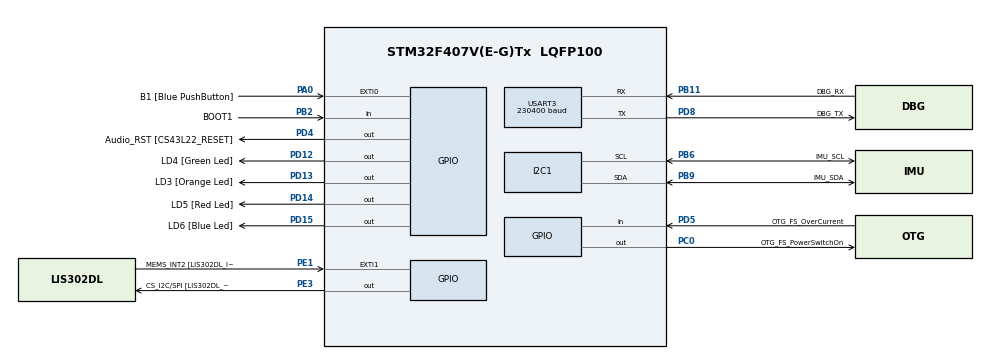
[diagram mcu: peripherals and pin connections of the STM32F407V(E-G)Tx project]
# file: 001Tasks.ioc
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Dma.I2C1_RX.1.Direction=DMA_PERIPH_TO_MEMORY
Dma.I2C1_RX.1.FIFOMode=DMA_FIFOMODE_DISABLE
Dma.I2C1_RX.1.Instance=DMA1_Stream0
Dma.I2C1_RX.1.MemDataAlignment=DMA_MDATAALIGN_BYTE
Dma.I2C1_RX.1.MemInc=DMA_MINC_ENABLE
Dma.I2C1_RX.1.Mode=DMA_NORMAL
Dma.I2C1_RX.1.PeriphDataAlignment=DMA_PDATAALIGN_BYTE
Dma.I2C1_RX.1.PeriphInc=DMA_PINC_DISABLE
Dma.I2C1_RX.1.Priority=DMA_PRIORITY_HIGH
Dma.I2C1_TX.2.Direction=DMA_MEMORY_TO_PERIPH
Dma.I2C1_TX.2.FIFOMode=DMA_FIFOMODE_DISABLE
Dma.I2C1_TX.2.Instance=DMA1_Stream6
Dma.I2C1_TX.2.MemDataAlignment=DMA_MDATAALIGN_BYTE
Dma.I2C1_TX.2.MemInc=DMA_MINC_ENABLE
Dma.I2C1_TX.2.Mode=DMA_NORMAL
Dma.I2C1_TX.2.PeriphDataAlignment=DMA_PDATAALIGN_BYTE
Dma.I2C1_TX.2.PeriphInc=DMA_PINC_DISABLE
Dma.I2C1_TX.2.Priority=DMA_PRIORITY_HIGH
Dma.Request0=USART3_TX
Dma.Request1=I2C1_RX
Dma.Request2=I2C1_TX
Dma.USART3_TX.0.Direction=DMA_MEMORY_TO_PERIPH
Dma.USART3_TX.0.FIFOMode=DMA_FIFOMODE_DISABLE
Dma.USART3_TX.0.Instance=DMA1_Stream3
Dma.USART3_TX.0.MemDataAlignment=DMA_MDATAALIGN_BYTE
Dma.USART3_TX.0.MemInc=DMA_MINC_ENABLE
Dma.USART3_TX.0.Mode=DMA_NORMAL
Dma.USART3_TX.0.PeriphDataAlignment=DMA_PDATAALIGN_BYTE
Dma.USART3_TX.0.PeriphInc=DMA_PINC_DISABLE
Dma.USART3_TX.0.Priority=DMA_PRIORITY_LOW
I2C1.I2C_Mode=I2C_Fast
Mcu.Family=STM32F4
Mcu.Name=STM32F407V(E-G)Tx
Mcu.Package=LQFP100
NVIC.DMA1_Stream0_IRQn=true\:6\:0\:true\:false\:true\:false\:true
NVIC.DMA1_Stream3_IRQn=true\:6\:0\:true\:false\:true\:false\:true
NVIC.DMA1_Stream6_IRQn=true\:6\:0\:true\:false\:true\:false\:true
NVIC.I2C1_ER_IRQn=true\:5\:0\:true\:false\:true\:true\:true
NVIC.I2C1_EV_IRQn=true\:6\:0\:true\:false\:true\:true\:true
NVIC.PriorityGroup=NVIC_PRIORITYGROUP_4
NVIC.RCC_IRQn=true\:5\:0\:true\:false\:true\:true\:false
NVIC.TIM6_DAC_IRQn=true\:0\:0\:true\:false\:true\:false\:true
NVIC.TimeBase=TIM6_DAC_IRQn
NVIC.TimeBaseIP=TIM6
NVIC.USART3_IRQn=true\:6\:0\:true\:false\:true\:true\:true
PA0-WKUP.GPIO_Label=B1 [Blue PushButton]
PA0-WKUP.Signal=GPXTI0
PA10.GPIO_Label=OTG_FS_ID
PA10.GPIO_Mode=GPIO_MODE_AF_PP
PA10.GPIO_PuPd=GPIO_NOPULL
PA10.GPIO_Speed=GPIO_SPEED_FREQ_LOW
PA10.Signal=USB_OTG_FS_ID
PA11.GPIO_Label=OTG_FS_DM
PA11.GPIO_Mode=GPIO_MODE_AF_PP
PA11.GPIO_PuPd=GPIO_NOPULL
PA11.GPIO_Speed=GPIO_SPEED_FREQ_LOW
PA11.Signal=USB_OTG_FS_DM
PA12.GPIO_Label=OTG_FS_DP
PA12.GPIO_Mode=GPIO_MODE_AF_PP
PA12.GPIO_PuPd=GPIO_NOPULL
PA12.GPIO_Speed=GPIO_SPEED_FREQ_LOW
PA12.Signal=USB_OTG_FS_DP
PA13.GPIO_Label=SWDIO
PA13.Signal=SYS_JTMS-SWDIO
PA14.GPIO_Label=SWCLK
PA14.Signal=SYS_JTCK-SWCLK
PA4.GPIO_Label=I2S3_WS [CS43L22_LRCK]
PA4.GPIO_Mode=GPIO_MODE_AF_PP
PA4.GPIO_PuPd=GPIO_NOPULL
PA4.GPIO_Speed=GPIO_SPEED_FREQ_LOW
PA4.Signal=I2S3_WS
PA5.GPIO_Label=SPI1_SCK [LIS302DL_SCL/SPC]
PA5.GPIO_Mode=GPIO_MODE_AF_PP
PA5.GPIO_PuPd=GPIO_NOPULL
PA5.GPIO_Speed=GPIO_SPEED_FREQ_LOW
PA5.Signal=SPI1_SCK
PA6.GPIO_Label=SPI1_MISO [LIS302DL_SDO]
PA6.GPIO_Mode=GPIO_MODE_AF_PP
PA6.GPIO_PuPd=GPIO_NOPULL
PA6.GPIO_Speed=GPIO_SPEED_FREQ_LOW
PA6.Signal=SPI1_MISO
PA7.GPIO_Label=SPI1_MOSI [LIS302DL_SDA/SDI/SDO]
PA7.GPIO_Mode=GPIO_MODE_AF_PP
PA7.GPIO_PuPd=GPIO_NOPULL
PA7.GPIO_Speed=GPIO_SPEED_FREQ_LOW
PA7.Signal=SPI1_MOSI
PA9.GPIO_Label=VBUS_FS
PA9.GPIO_Mode=GPIO_MODE_INPUT
PA9.GPIO_PuPd=GPIO_NOPULL
PA9.Signal=USB_OTG_FS_VBUS
PB10.GPIO_Label=CLK_IN [MP45DT02_CLK]
PB10.GPIO_Mode=GPIO_MODE_AF_PP
PB10.GPIO_PuPd=GPIO_NOPULL
PB10.GPIO_Speed=GPIO_SPEED_FREQ_LOW
PB10.Signal=I2S2_CK
PB11.GPIO_Label=DBG_RX
PB11.Mode=Asynchronous
PB11.Signal=USART3_RX
PB2.GPIO_Label=BOOT1
PB2.GPIO_Mode=GPIO_MODE_INPUT
PB2.GPIO_PuPd=GPIO_NOPULL
PB2.Signal=GPIO_Input
PB3.GPIO_Label=SWO
PB3.Signal=SYS_JTDO-SWO
PB6.GPIO_Label=IMU_SCL
PB6.GPIO_Mode=GPIO_MODE_AF_OD
PB6.GPIO_Pu=GPIO_PULLUP
PB6.GPIO_PuPd=GPIO_NOPULL
PB6.GPIO_Speed=GPIO_SPEED_FREQ_HIGH
PB6.Mode=I2C
PB6.Signal=I2C1_SCL
PB9.GPIO_Label=IMU_SDA
PB9.GPIO_Mode=GPIO_MODE_AF_OD
PB9.GPIO_Pu=GPIO_PULLUP
PB9.GPIO_PuPd=GPIO_NOPULL
PB9.GPIO_Speed=GPIO_SPEED_FREQ_HIGH
PB9.Mode=I2C
PB9.Signal=I2C1_SDA
PC0.GPIO_Label=OTG_FS_PowerSwitchOn
PC0.GPIO_PuPd=GPIO_NOPULL
PC0.GPIO_Speed=GPIO_SPEED_FREQ_LOW
PC0.PinState=GPIO_PIN_SET
PC0.Signal=GPIO_Output
PC10.GPIO_Label=I2S3_SCK [CS43L22_SCLK]
PC10.GPIO_Mode=GPIO_MODE_AF_PP
PC10.GPIO_PuPd=GPIO_NOPULL
PC10.GPIO_Speed=GPIO_SPEED_FREQ_LOW
PC10.Signal=I2S3_CK
PC12.GPIO_Label=I2S3_SD [CS43L22_SDIN]
PC12.GPIO_Mode=GPIO_MODE_AF_PP
PC12.GPIO_PuPd=GPIO_NOPULL
PC12.GPIO_Speed=GPIO_SPEED_FREQ_LOW
PC12.Signal=I2S3_SD
PC14-OSC32_IN.GPIO_Label=PC14-OSC32_IN
PC14-OSC32_IN.Signal=RCC_OSC32_IN
PC15-OSC32_OUT.GPIO_Label=PC15-OSC32_OUT
PC15-OSC32_OUT.Signal=RCC_OSC32_OUT
PC3.GPIO_Label=PDM_OUT [MP45DT02_DOUT]
PC3.GPIO_Mode=GPIO_MODE_AF_PP
PC3.GPIO_PuPd=GPIO_NOPULL
PC3.GPIO_Speed=GPIO_SPEED_FREQ_LOW
PC3.Signal=I2S2_SD
PC7.GPIO_Label=I2S3_MCK [CS43L22_MCLK]
PC7.GPIO_Mode=GPIO_MODE_AF_PP
PC7.GPIO_PuPd=GPIO_NOPULL
PC7.GPIO_Speed=GPIO_SPEED_FREQ_LOW
PC7.Signal=I2S3_MCK
PD12.GPIO_Label=LD4 [Green Led]
PD12.GPIO_PuPd=GPIO_NOPULL
PD12.GPIO_Speed=GPIO_SPEED_FREQ_LOW
PD12.Signal=GPIO_Output
PD13.GPIO_Label=LD3 [Orange Led]
PD13.GPIO_PuPd=GPIO_NOPULL
PD13.GPIO_Speed=GPIO_SPEED_FREQ_LOW
PD13.Signal=GPIO_Output
PD14.GPIO_Label=LD5 [Red Led]
PD14.GPIO_PuPd=GPIO_NOPULL
PD14.GPIO_Speed=GPIO_SPEED_FREQ_LOW
PD14.Signal=GPIO_Output
PD15.GPIO_Label=LD6 [Blue Led]
PD15.GPIO_PuPd=GPIO_NOPULL
PD15.GPIO_Speed=GPIO_SPEED_FREQ_LOW
PD15.Signal=GPIO_Output
PD4.GPIO_Label=Audio_RST [CS43L22_RESET]
PD4.GPIO_PuPd=GPIO_NOPULL
PD4.GPIO_Speed=GPIO_SPEED_FREQ_LOW
PD4.Signal=GPIO_Output
PD5.GPIO_Label=OTG_FS_OverCurrent
PD5.GPIO_Mode=GPIO_MODE_INPUT
PD5.GPIO_PuPd=GPIO_NOPULL
PD5.Signal=GPIO_Input
PD8.GPIO_Label=DBG_TX
PD8.Mode=Asynchronous
PD8.Signal=USART3_TX
PE1.GPIO_Label=MEMS_INT2 [LIS302DL_INT2]
PE1.GPIO_ModeDefaultEXTI=GPIO_MODE_EVT_RISING
PE1.GPIO_PuPd=GPIO_NOPULL
PE1.Signal=GPXTI1
PE3.GPIO_Label=CS_I2C/SPI [LIS302DL_CS_I2C/SPI]
PE3.GPIO_PuPd=GPIO_NOPULL
PE3.GPIO_Speed=GPIO_SPEED_FREQ_LOW
PE3.Signal=GPIO_Output
PH0-OSC_IN.GPIO_Label=PH0-OSC_IN
PH0-OSC_IN.Signal=RCC_OSC_IN
PH1-OSC_OUT.GPIO_Label=PH1-OSC_OUT
PH1-OSC_OUT.Signal=RCC_OSC_OUT
ProjectManager.HeapSize=0x200
ProjectManager.StackSize=0x400
ProjectManager.TargetToolchain=STM32CubeIDE
RCC.48MHZClocksFreq_Value=48000000
RCC.AHBFreq_Value=168000000
RCC.APB1CLKDivider=RCC_HCLK_DIV4
RCC.APB1Freq_Value=42000000
RCC.APB1TimFreq_Value=84000000
RCC.APB2CLKDivider=RCC_HCLK_DIV2
RCC.APB2Freq_Value=84000000
RCC.APB2TimFreq_Value=168000000
RCC.CortexFreq_Value=168000000
RCC.HCLKFreq_Value=168000000
RCC.HSE_VALUE=8000000
RCC.HSI_VALUE=16000000
RCC.LSE_VALUE=32768
RCC.PLLM=8
RCC.PLLN=168
RCC.PLLQ=7
RCC.SYSCLKFreq_VALUE=168000000
RCC.SYSCLKSource=RCC_SYSCLKSOURCE_PLLCLK
RCC.VCOOutputFreq_Value=336000000
USART3.BaudRate=230400
USART3.VirtualMode=VM_ASYNC
VP_SYS_VS_tim6.Mode=TIM6
board=STM32F407G-DISC1

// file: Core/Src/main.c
/* USER CODE BEGIN Header */
/**
  ******************************************************************************
  * @file           : main.c
  * @brief          : Main program body
  ******************************************************************************
  * @attention
  *
  * <h2><center>&copy; Copyright (c) 2021 STMicroelectronics.
  * All rights reserved.</center></h2>
  *
  * This software component is licensed by ST under BSD 3-Clause license,
  * the "License"; You may not use this file except in compliance with the
  * License. You may obtain a copy of the License at:
  *                        opensource.org/licenses/BSD-3-Clause
  *
  ******************************************************************************
  */
/* USER CODE END Header */
#include "main.h"

/* USER CODE BEGIN Includes */
#include <stdio.h>
#include <stdbool.h>
#include <stdarg.h>

#include <FreeRTOS.h>
#include <task.h>
#include <queue.h>
#include <shell/shell.h>
#include "SEGGER_SYSVIEW.h"
#include <printf.h>
#include <lsm9ds1.h>
#include <i2c.h>

/* USER CODE END Includes */

/* USER CODE BEGIN PTD */

typedef struct {
	char buffer[128];
	size_t sz;
} ShellQueueTX_t;

/* USER CODE END PTD */

/* USER CODE BEGIN PD */
#define SEGGER_DEBUGGER_MODE	(1)
#define SEGGER_REALTIME_MODE	(2)

#define SEGGER_MODE	SEGGER_REALTIME_MODE

#define SHELL_QUEUE_RX_DEPTH	(32)
#define SHELL_QUEUE_TX_DEPTH	(16)
#define SHELL_QUEUE_TX_BUFF_SZ  (128)	/**!< Maximum size of each item in the
											  shell TX queue */
/* USER CODE END PD */

/* USER CODE BEGIN PM */
#define DWT_CTRL	((volatile uint32_t*)0xE0001000)
/* USER CODE END PM */

/* USER CODE BEGIN PV */
static TaskHandle_t task1_handle,
				    task2_handle, task3_handle,
					task4_handle, task_shell_rx_handle,
					task_shell_tx_handle, task_imu_handle;

QueueHandle_t shell_queue_rx, shell_queue_tx;

/* USER CODE END PV */

void SystemClock_Config(void);
static void MX_GPIO_Init(void);
static void MX_USART3_UART_Init(void);
static void MX_DMA_Init(void);
static void MX_I2C1_Init(void);
/* USER CODE BEGIN PFP */
extern void SEGGER_UART_init(U32 baud);

extern size_t uxTaskGetTCBSize(void);
extern uint32_t uxTaskGetStackSize(TaskHandle_t xTask);

static void vTask1(void * pvParameters);
static void vTask2(void * pvParameters);
static void vTask3(void * pvParameters);
static void vTask4(void * pvParameters);
static void vTask_Shell_RX(void * pvParameters);
static void vTask_Shell_TX(void * pvParameters);
static void vTaskIMU(void * pvParameters);
/* USER CODE END PFP */

int main(void)
{
  /* USER CODE BEGIN 1 */
  BaseType_t task1_rv, task2_rv,
	  	  	 task3_rv, task4_rv,
			 task_shell_rx_rv, task_shell_tx_rv,
			 task_imu;

  /* USER CODE END 1 */

  /* MCU Configuration--------------------------------------------------------*/

  /* Reset of all peripherals, Initializes the Flash interface and the Systick. */
  HAL_Init();

  /* USER CODE BEGIN Init */

  /* Bug fix for the initialization order.
   * DMA must be initialized BEFORE the peripherals that uses them.
   */
  MX_DMA_Init();

  /* USER CODE END Init */

  /* Configure the system clock */
  SystemClock_Config();

  /* Initialize all configured peripherals */
  MX_GPIO_Init();
  MX_USART3_UART_Init();
  MX_DMA_Init();
  MX_I2C1_Init();
  /* USER CODE BEGIN 2 */

  /* Enable cycle counting by setting the bit 0 of DWT_CTRL */
  *DWT_CTRL |= 0x1;

#if SEGGER_MODE==SEGGER_REALTIME_MODE
  SEGGER_UART_init(500000);
  SEGGER_SYSVIEW_Conf();
#elif SEGGER_MODE==SEGGER_DEBUGGER_MODE
  NVIC_SetPriorityGrouping(0); // Set when using segger on debugger mode (not realtime)
  SEGGER_SYSVIEW_Conf();
  SEGGER_SYSVIEW_Start();	// no need to do this since SEGGER_SYSVIEW_Start() is already called inside SEGGER_UART_init();
#endif

  /* Determine how big a TCB is */
  char msg[32] = {0};
  snprintf(msg, 32, "Size of TCB: %d bytes", uxTaskGetTCBSize());
  SEGGER_SYSVIEW_PrintfTarget(msg);

  /* Create the task, storing the handle.
   * With hard assertion check for passing tasks
   */
  task1_rv = xTaskCreate(vTask1, "Task 1", 200, NULL, 1, &task1_handle);
  configASSERT(task1_rv == pdPASS);
  task2_rv = xTaskCreate(vTask2, "Task 2", 200, NULL, 1, &task2_handle);
  configASSERT(task2_rv == pdPASS);
  task3_rv = xTaskCreate(vTask3, "Task 3", 200, NULL, 1, &task3_handle);
  configASSERT(task3_rv == pdPASS);
  task4_rv = xTaskCreate(vTask4, "Task 4", 200, NULL, 2, &task4_handle);
  configASSERT(task4_rv == pdPASS);
  task_shell_rx_rv = xTaskCreate(vTask_Shell_RX, "Shell RX Task", 200, NULL, 5, &task_shell_rx_handle);
  configASSERT(task_shell_rx_rv == pdPASS);
  task_shell_tx_rv = xTaskCreate(vTask_Shell_TX, "Shell TX Task", 200, NULL, 4, &task_shell_tx_handle);
  configASSERT(task_shell_tx_rv == pdPASS);
  task_imu = xTaskCreate(vTaskIMU, "Task IMU", 240, NULL, 5, &task_imu_handle);
  configASSERT(task_imu == pdPASS);

  /* Create the queues for the debugger */
  shell_queue_rx = xQueueCreate(SHELL_QUEUE_RX_DEPTH, sizeof(char));
  shell_queue_tx = xQueueCreate(SHELL_QUEUE_TX_DEPTH, sizeof(ShellQueueTX_t));

  if( (shell_queue_rx == NULL) || (shell_queue_tx == NULL) )
  {
	  /* Queue was not created and must not be used. */
  }

  /* Initialize the shell */
  sShellImpl shell_impl = {
    .send_printf = Shell_Printf,
  };
  shell_boot(&shell_impl);

  /* Start the scheduler */
  vTaskStartScheduler();

  /* If the control comes here then the launch of the scheduler has failed
   due to the insufficient memory */

  /* USER CODE END 2 */

  /* Infinite loop */
  while (1)
  {

  }
}

void SystemClock_Config(void)
{
  LL_FLASH_SetLatency(LL_FLASH_LATENCY_5);
  while(LL_FLASH_GetLatency()!= LL_FLASH_LATENCY_5)
  {
  }
  LL_PWR_SetRegulVoltageScaling(LL_PWR_REGU_VOLTAGE_SCALE1);
  LL_RCC_HSI_SetCalibTrimming(16);
  LL_RCC_HSI_Enable();

   /* Wait till HSI is ready */
  while(LL_RCC_HSI_IsReady() != 1)
  {

  }
  LL_RCC_PLL_ConfigDomain_SYS(LL_RCC_PLLSOURCE_HSI, LL_RCC_PLLM_DIV_8, 168, LL_RCC_PLLP_DIV_2);
  LL_RCC_PLL_Enable();

   /* Wait till PLL is ready */
  while(LL_RCC_PLL_IsReady() != 1)
  {

  }
  LL_RCC_SetAHBPrescaler(LL_RCC_SYSCLK_DIV_1);
  LL_RCC_SetAPB1Prescaler(LL_RCC_APB1_DIV_4);
  LL_RCC_SetAPB2Prescaler(LL_RCC_APB2_DIV_2);
  LL_RCC_SetSysClkSource(LL_RCC_SYS_CLKSOURCE_PLL);

   /* Wait till System clock is ready */
  while(LL_RCC_GetSysClkSource() != LL_RCC_SYS_CLKSOURCE_STATUS_PLL)
  {

  }
  LL_SetSystemCoreClock(168000000);

   /* Update the time base */
  if (HAL_InitTick (TICK_INT_PRIORITY) != HAL_OK)
  {
    Error_Handler();
  }
}

static void MX_I2C1_Init(void)
{

  LL_I2C_InitTypeDef I2C_InitStruct = {0};

  LL_GPIO_InitTypeDef GPIO_InitStruct = {0};

  LL_AHB1_GRP1_EnableClock(LL_AHB1_GRP1_PERIPH_GPIOB);
  /**I2C1 GPIO Configuration
  PB6   ------> I2C1_SCL
  PB9   ------> I2C1_SDA
  */
  GPIO_InitStruct.Pin = IMU_SCL_Pin|IMU_SDA_Pin;
  GPIO_InitStruct.Mode = LL_GPIO_MODE_ALTERNATE;
  GPIO_InitStruct.Speed = LL_GPIO_SPEED_FREQ_HIGH;
  GPIO_InitStruct.OutputType = LL_GPIO_OUTPUT_OPENDRAIN;
  GPIO_InitStruct.Pull = LL_GPIO_PULL_UP;
  GPIO_InitStruct.Alternate = LL_GPIO_AF_4;
  LL_GPIO_Init(GPIOB, &GPIO_InitStruct);

  /* Peripheral clock enable */
  LL_APB1_GRP1_EnableClock(LL_APB1_GRP1_PERIPH_I2C1);

  /* I2C1 DMA Init */

  /* I2C1_RX Init */
  LL_DMA_SetChannelSelection(DMA1, LL_DMA_STREAM_0, LL_DMA_CHANNEL_1);

  LL_DMA_SetDataTransferDirection(DMA1, LL_DMA_STREAM_0, LL_DMA_DIRECTION_PERIPH_TO_MEMORY);

  LL_DMA_SetStreamPriorityLevel(DMA1, LL_DMA_STREAM_0, LL_DMA_PRIORITY_HIGH);

  LL_DMA_SetMode(DMA1, LL_DMA_STREAM_0, LL_DMA_MODE_NORMAL);

  LL_DMA_SetPeriphIncMode(DMA1, LL_DMA_STREAM_0, LL_DMA_PERIPH_NOINCREMENT);

  LL_DMA_SetMemoryIncMode(DMA1, LL_DMA_STREAM_0, LL_DMA_MEMORY_INCREMENT);

  LL_DMA_SetPeriphSize(DMA1, LL_DMA_STREAM_0, LL_DMA_PDATAALIGN_BYTE);

  LL_DMA_SetMemorySize(DMA1, LL_DMA_STREAM_0, LL_DMA_MDATAALIGN_BYTE);

  LL_DMA_DisableFifoMode(DMA1, LL_DMA_STREAM_0);

  /* I2C1_TX Init */
  LL_DMA_SetChannelSelection(DMA1, LL_DMA_STREAM_6, LL_DMA_CHANNEL_1);

  LL_DMA_SetDataTransferDirection(DMA1, LL_DMA_STREAM_6, LL_DMA_DIRECTION_MEMORY_TO_PERIPH);

  LL_DMA_SetStreamPriorityLevel(DMA1, LL_DMA_STREAM_6, LL_DMA_PRIORITY_HIGH);

  LL_DMA_SetMode(DMA1, LL_DMA_STREAM_6, LL_DMA_MODE_NORMAL);

  LL_DMA_SetPeriphIncMode(DMA1, LL_DMA_STREAM_6, LL_DMA_PERIPH_NOINCREMENT);

  LL_DMA_SetMemoryIncMode(DMA1, LL_DMA_STREAM_6, LL_DMA_MEMORY_INCREMENT);

  LL_DMA_SetPeriphSize(DMA1, LL_DMA_STREAM_6, LL_DMA_PDATAALIGN_BYTE);

  LL_DMA_SetMemorySize(DMA1, LL_DMA_STREAM_6, LL_DMA_MDATAALIGN_BYTE);

  LL_DMA_DisableFifoMode(DMA1, LL_DMA_STREAM_6);

  /* I2C1 interrupt Init */
  NVIC_SetPriority(I2C1_EV_IRQn, NVIC_EncodePriority(NVIC_GetPriorityGrouping(),6, 0));
  NVIC_EnableIRQ(I2C1_EV_IRQn);
  NVIC_SetPriority(I2C1_ER_IRQn, NVIC_EncodePriority(NVIC_GetPriorityGrouping(),5, 0));
  NVIC_EnableIRQ(I2C1_ER_IRQn);

  /** I2C Initialization
  */
  LL_I2C_DisableOwnAddress2(I2C1);
  LL_I2C_DisableGeneralCall(I2C1);
  LL_I2C_EnableClockStretching(I2C1);
  I2C_InitStruct.PeripheralMode = LL_I2C_MODE_I2C;
  I2C_InitStruct.ClockSpeed = 400000;
  I2C_InitStruct.DutyCycle = LL_I2C_DUTYCYCLE_2;
  I2C_InitStruct.OwnAddress1 = 0;
  I2C_InitStruct.TypeAcknowledge = LL_I2C_ACK;
  I2C_InitStruct.OwnAddrSize = LL_I2C_OWNADDRESS1_7BIT;
  LL_I2C_Init(I2C1, &I2C_InitStruct);
  LL_I2C_SetOwnAddress2(I2C1, 0);

}

static void MX_USART3_UART_Init(void)
{

  LL_USART_InitTypeDef USART_InitStruct = {0};

  LL_GPIO_InitTypeDef GPIO_InitStruct = {0};

  /* Peripheral clock enable */
  LL_APB1_GRP1_EnableClock(LL_APB1_GRP1_PERIPH_USART3);

  LL_AHB1_GRP1_EnableClock(LL_AHB1_GRP1_PERIPH_GPIOB);
  LL_AHB1_GRP1_EnableClock(LL_AHB1_GRP1_PERIPH_GPIOD);
  /**USART3 GPIO Configuration
  PB11   ------> USART3_RX
  PD8   ------> USART3_TX
  */
  GPIO_InitStruct.Pin = DBG_RX_Pin;
  GPIO_InitStruct.Mode = LL_GPIO_MODE_ALTERNATE;
  GPIO_InitStruct.Speed = LL_GPIO_SPEED_FREQ_VERY_HIGH;
  GPIO_InitStruct.OutputType = LL_GPIO_OUTPUT_PUSHPULL;
  GPIO_InitStruct.Pull = LL_GPIO_PULL_NO;
  GPIO_InitStruct.Alternate = LL_GPIO_AF_7;
  LL_GPIO_Init(DBG_RX_GPIO_Port, &GPIO_InitStruct);

  GPIO_InitStruct.Pin = DBG_TX_Pin;
  GPIO_InitStruct.Mode = LL_GPIO_MODE_ALTERNATE;
  GPIO_InitStruct.Speed = LL_GPIO_SPEED_FREQ_VERY_HIGH;
  GPIO_InitStruct.OutputType = LL_GPIO_OUTPUT_PUSHPULL;
  GPIO_InitStruct.Pull = LL_GPIO_PULL_NO;
  GPIO_InitStruct.Alternate = LL_GPIO_AF_7;
  LL_GPIO_Init(DBG_TX_GPIO_Port, &GPIO_InitStruct);

  /* USART3 DMA Init */

  /* USART3_TX Init */
  LL_DMA_SetChannelSelection(DMA1, LL_DMA_STREAM_3, LL_DMA_CHANNEL_4);

  LL_DMA_SetDataTransferDirection(DMA1, LL_DMA_STREAM_3, LL_DMA_DIRECTION_MEMORY_TO_PERIPH);

  LL_DMA_SetStreamPriorityLevel(DMA1, LL_DMA_STREAM_3, LL_DMA_PRIORITY_LOW);

  LL_DMA_SetMode(DMA1, LL_DMA_STREAM_3, LL_DMA_MODE_NORMAL);

  LL_DMA_SetPeriphIncMode(DMA1, LL_DMA_STREAM_3, LL_DMA_PERIPH_NOINCREMENT);

  LL_DMA_SetMemoryIncMode(DMA1, LL_DMA_STREAM_3, LL_DMA_MEMORY_INCREMENT);

  LL_DMA_SetPeriphSize(DMA1, LL_DMA_STREAM_3, LL_DMA_PDATAALIGN_BYTE);

  LL_DMA_SetMemorySize(DMA1, LL_DMA_STREAM_3, LL_DMA_MDATAALIGN_BYTE);

  LL_DMA_DisableFifoMode(DMA1, LL_DMA_STREAM_3);

  /* USART3 interrupt Init */
  NVIC_SetPriority(USART3_IRQn, NVIC_EncodePriority(NVIC_GetPriorityGrouping(),6, 0));
  NVIC_EnableIRQ(USART3_IRQn);

  USART_InitStruct.BaudRate = 230400;
  USART_InitStruct.DataWidth = LL_USART_DATAWIDTH_8B;
  USART_InitStruct.StopBits = LL_USART_STOPBITS_1;
  USART_InitStruct.Parity = LL_USART_PARITY_NONE;
  USART_InitStruct.TransferDirection = LL_USART_DIRECTION_TX_RX;
  USART_InitStruct.HardwareFlowControl = LL_USART_HWCONTROL_NONE;
  USART_InitStruct.OverSampling = LL_USART_OVERSAMPLING_16;
  LL_USART_Init(USART3, &USART_InitStruct);
  LL_USART_ConfigAsyncMode(USART3);
  LL_USART_Enable(USART3);
  /* USER CODE BEGIN USART3_Init 2 */
  LL_DMA_EnableIT_TC(DMA1, LL_DMA_STREAM_3);
  LL_USART_EnableIT_RXNE(USART3);
  LL_USART_EnableIT_IDLE(USART3);
  LL_USART_EnableIT_ERROR(USART3);
  /* USER CODE END USART3_Init 2 */

}

static void MX_DMA_Init(void)
{

  /* Init with LL driver */
  /* DMA controller clock enable */
  LL_AHB1_GRP1_EnableClock(LL_AHB1_GRP1_PERIPH_DMA1);

  /* DMA interrupt init */
  /* DMA1_Stream0_IRQn interrupt configuration */
  NVIC_SetPriority(DMA1_Stream0_IRQn, NVIC_EncodePriority(NVIC_GetPriorityGrouping(),6, 0));
  NVIC_EnableIRQ(DMA1_Stream0_IRQn);
  /* DMA1_Stream3_IRQn interrupt configuration */
  NVIC_SetPriority(DMA1_Stream3_IRQn, NVIC_EncodePriority(NVIC_GetPriorityGrouping(),6, 0));
  NVIC_EnableIRQ(DMA1_Stream3_IRQn);
  /* DMA1_Stream6_IRQn interrupt configuration */
  NVIC_SetPriority(DMA1_Stream6_IRQn, NVIC_EncodePriority(NVIC_GetPriorityGrouping(),6, 0));
  NVIC_EnableIRQ(DMA1_Stream6_IRQn);

}

static void MX_GPIO_Init(void)
{
  LL_EXTI_InitTypeDef EXTI_InitStruct = {0};
  LL_GPIO_InitTypeDef GPIO_InitStruct = {0};

  /* GPIO Ports Clock Enable */
  LL_AHB1_GRP1_EnableClock(LL_AHB1_GRP1_PERIPH_GPIOE);
  LL_AHB1_GRP1_EnableClock(LL_AHB1_GRP1_PERIPH_GPIOC);
  LL_AHB1_GRP1_EnableClock(LL_AHB1_GRP1_PERIPH_GPIOH);
  LL_AHB1_GRP1_EnableClock(LL_AHB1_GRP1_PERIPH_GPIOA);
  LL_AHB1_GRP1_EnableClock(LL_AHB1_GRP1_PERIPH_GPIOB);
  LL_AHB1_GRP1_EnableClock(LL_AHB1_GRP1_PERIPH_GPIOD);

  /**/
  LL_GPIO_ResetOutputPin(CS_I2C_SPI_GPIO_Port, CS_I2C_SPI_Pin);

  /**/
  LL_GPIO_ResetOutputPin(GPIOD, LD4_Pin|LD3_Pin|LD5_Pin|LD6_Pin
                          |Audio_RST_Pin);

  /**/
  LL_GPIO_SetOutputPin(OTG_FS_PowerSwitchOn_GPIO_Port, OTG_FS_PowerSwitchOn_Pin);

  /**/
  GPIO_InitStruct.Pin = CS_I2C_SPI_Pin;
  GPIO_InitStruct.Mode = LL_GPIO_MODE_OUTPUT;
  GPIO_InitStruct.Speed = LL_GPIO_SPEED_FREQ_LOW;
  GPIO_InitStruct.OutputType = LL_GPIO_OUTPUT_PUSHPULL;
  GPIO_InitStruct.Pull = LL_GPIO_PULL_NO;
  LL_GPIO_Init(CS_I2C_SPI_GPIO_Port, &GPIO_InitStruct);

  /**/
  GPIO_InitStruct.Pin = OTG_FS_PowerSwitchOn_Pin;
  GPIO_InitStruct.Mode = LL_GPIO_MODE_OUTPUT;
  GPIO_InitStruct.Speed = LL_GPIO_SPEED_FREQ_LOW;
  GPIO_InitStruct.OutputType = LL_GPIO_OUTPUT_PUSHPULL;
  GPIO_InitStruct.Pull = LL_GPIO_PULL_NO;
  LL_GPIO_Init(OTG_FS_PowerSwitchOn_GPIO_Port, &GPIO_InitStruct);

  /**/
  GPIO_InitStruct.Pin = PDM_OUT_Pin;
  GPIO_InitStruct.Mode = LL_GPIO_MODE_ALTERNATE;
  GPIO_InitStruct.Speed = LL_GPIO_SPEED_FREQ_LOW;
  GPIO_InitStruct.OutputType = LL_GPIO_OUTPUT_PUSHPULL;
  GPIO_InitStruct.Pull = LL_GPIO_PULL_NO;
  GPIO_InitStruct.Alternate = LL_GPIO_AF_5;
  LL_GPIO_Init(PDM_OUT_GPIO_Port, &GPIO_InitStruct);

  /**/
  GPIO_InitStruct.Pin = I2S3_WS_Pin;
  GPIO_InitStruct.Mode = LL_GPIO_MODE_ALTERNATE;
  GPIO_InitStruct.Speed = LL_GPIO_SPEED_FREQ_LOW;
  GPIO_InitStruct.OutputType = LL_GPIO_OUTPUT_PUSHPULL;
  GPIO_InitStruct.Pull = LL_GPIO_PULL_NO;
  GPIO_InitStruct.Alternate = LL_GPIO_AF_6;
  LL_GPIO_Init(I2S3_WS_GPIO_Port, &GPIO_InitStruct);

  /**/
  GPIO_InitStruct.Pin = SPI1_SCK_Pin|SPI1_MISO_Pin|SPI1_MOSI_Pin;
  GPIO_InitStruct.Mode = LL_GPIO_MODE_ALTERNATE;
  GPIO_InitStruct.Speed = LL_GPIO_SPEED_FREQ_LOW;
  GPIO_InitStruct.OutputType = LL_GPIO_OUTPUT_PUSHPULL;
  GPIO_InitStruct.Pull = LL_GPIO_PULL_NO;
  GPIO_InitStruct.Alternate = LL_GPIO_AF_5;
  LL_GPIO_Init(GPIOA, &GPIO_InitStruct);

  /**/
  GPIO_InitStruct.Pin = BOOT1_Pin;
  GPIO_InitStruct.Mode = LL_GPIO_MODE_INPUT;
  GPIO_InitStruct.Pull = LL_GPIO_PULL_NO;
  LL_GPIO_Init(BOOT1_GPIO_Port, &GPIO_InitStruct);

  /**/
  GPIO_InitStruct.Pin = CLK_IN_Pin;
  GPIO_InitStruct.Mode = LL_GPIO_MODE_ALTERNATE;
  GPIO_InitStruct.Speed = LL_GPIO_SPEED_FREQ_LOW;
  GPIO_InitStruct.OutputType = LL_GPIO_OUTPUT_PUSHPULL;
  GPIO_InitStruct.Pull = LL_GPIO_PULL_NO;
  GPIO_InitStruct.Alternate = LL_GPIO_AF_5;
  LL_GPIO_Init(CLK_IN_GPIO_Port, &GPIO_InitStruct);

  /**/
  GPIO_InitStruct.Pin = LD4_Pin|LD3_Pin|LD5_Pin|LD6_Pin
                          |Audio_RST_Pin;
  GPIO_InitStruct.Mode = LL_GPIO_MODE_OUTPUT;
  GPIO_InitStruct.Speed = LL_GPIO_SPEED_FREQ_LOW;
  GPIO_InitStruct.OutputType = LL_GPIO_OUTPUT_PUSHPULL;
  GPIO_InitStruct.Pull = LL_GPIO_PULL_NO;
  LL_GPIO_Init(GPIOD, &GPIO_InitStruct);

  /**/
  GPIO_InitStruct.Pin = I2S3_MCK_Pin|I2S3_SCK_Pin|I2S3_SD_Pin;
  GPIO_InitStruct.Mode = LL_GPIO_MODE_ALTERNATE;
  GPIO_InitStruct.Speed = LL_GPIO_SPEED_FREQ_LOW;
  GPIO_InitStruct.OutputType = LL_GPIO_OUTPUT_PUSHPULL;
  GPIO_InitStruct.Pull = LL_GPIO_PULL_NO;
  GPIO_InitStruct.Alternate = LL_GPIO_AF_6;
  LL_GPIO_Init(GPIOC, &GPIO_InitStruct);

  /**/
  GPIO_InitStruct.Pin = VBUS_FS_Pin;
  GPIO_InitStruct.Mode = LL_GPIO_MODE_INPUT;
  GPIO_InitStruct.Pull = LL_GPIO_PULL_NO;
  LL_GPIO_Init(VBUS_FS_GPIO_Port, &GPIO_InitStruct);

  /**/
  GPIO_InitStruct.Pin = OTG_FS_ID_Pin|OTG_FS_DM_Pin|OTG_FS_DP_Pin;
  GPIO_InitStruct.Mode = LL_GPIO_MODE_ALTERNATE;
  GPIO_InitStruct.Speed = LL_GPIO_SPEED_FREQ_LOW;
  GPIO_InitStruct.OutputType = LL_GPIO_OUTPUT_PUSHPULL;
  GPIO_InitStruct.Pull = LL_GPIO_PULL_NO;
  GPIO_InitStruct.Alternate = LL_GPIO_AF_10;
  LL_GPIO_Init(GPIOA, &GPIO_InitStruct);

  /**/
  GPIO_InitStruct.Pin = OTG_FS_OverCurrent_Pin;
  GPIO_InitStruct.Mode = LL_GPIO_MODE_INPUT;
  GPIO_InitStruct.Pull = LL_GPIO_PULL_NO;
  LL_GPIO_Init(OTG_FS_OverCurrent_GPIO_Port, &GPIO_InitStruct);

  /**/
  LL_SYSCFG_SetEXTISource(LL_SYSCFG_EXTI_PORTA, LL_SYSCFG_EXTI_LINE0);

  /**/
  LL_SYSCFG_SetEXTISource(LL_SYSCFG_EXTI_PORTE, LL_SYSCFG_EXTI_LINE1);

  /**/
  EXTI_InitStruct.Line_0_31 = LL_EXTI_LINE_0;
  EXTI_InitStruct.LineCommand = ENABLE;
  EXTI_InitStruct.Mode = LL_EXTI_MODE_IT;
  EXTI_InitStruct.Trigger = LL_EXTI_TRIGGER_RISING;
  LL_EXTI_Init(&EXTI_InitStruct);

  /**/
  EXTI_InitStruct.Line_0_31 = LL_EXTI_LINE_1;
  EXTI_InitStruct.LineCommand = ENABLE;
  EXTI_InitStruct.Mode = LL_EXTI_MODE_EVENT;
  EXTI_InitStruct.Trigger = LL_EXTI_TRIGGER_RISING;
  LL_EXTI_Init(&EXTI_InitStruct);

  /**/
  LL_GPIO_SetPinPull(B1_GPIO_Port, B1_Pin, LL_GPIO_PULL_NO);

  /**/
  LL_GPIO_SetPinPull(MEMS_INT2_GPIO_Port, MEMS_INT2_Pin, LL_GPIO_PULL_NO);

  /**/
  LL_GPIO_SetPinMode(B1_GPIO_Port, B1_Pin, LL_GPIO_MODE_INPUT);

  /**/
  LL_GPIO_SetPinMode(MEMS_INT2_GPIO_Port, MEMS_INT2_Pin, LL_GPIO_MODE_INPUT);

}

/* USER CODE BEGIN 4 */

static void vTask1(void * pvParameters)
{
	TickType_t xLastWakeTime;
	xLastWakeTime = xTaskGetTickCount();
	static uint8_t toggler;

	while(1)
	{
		if (xTaskNotifyWait(0, 0, NULL, 0))
		{
			// suspend self
			vTaskSuspend(NULL);
		}
		LL_GPIO_TogglePin(LD4_GPIO_Port, LD4_Pin);

		toggler ^= 1;
		vTaskDelayUntil(&xLastWakeTime, pdMS_TO_TICKS(1000));
	}
}

static void vTask2(void * pvParameters)
{
	TickType_t xLastWakeTime;
	xLastWakeTime = xTaskGetTickCount();

	while(1)
	{
		if (xTaskNotifyWait(0, 0, NULL, 0))
		{
			// suspend self
			vTaskSuspend(NULL);
		}
		LL_GPIO_TogglePin(LD3_GPIO_Port, LD3_Pin);
		vTaskDelayUntil(&xLastWakeTime, pdMS_TO_TICKS(800));
	}
}

static void vTask3(void * pvParameters)
{
	TickType_t xLastWakeTime;
	xLastWakeTime = xTaskGetTickCount();

	while(1)
	{
		if (xTaskNotifyWait(0, 0, NULL, 0))
		{
			// suspend self
			vTaskSuspend(NULL);
		}
		LL_GPIO_TogglePin(LD5_GPIO_Port, LD5_Pin);
		vTaskDelayUntil(&xLastWakeTime, pdMS_TO_TICKS(400));
	}
}

static void vTask4(void * pvParameters)
{
#define USER_PIN_STATE HAL_GPIO_ReadPin(B1_GPIO_Port, B1_Pin)
	uint16_t debounceCtr = 0;
	uint8_t isPressedCtr = 0;
	bool isPressed = false;

	while(1)
	{
		if (USER_PIN_STATE == GPIO_PIN_SET)
		{
			if (!isPressed)
			{
				debounceCtr++;
				if (debounceCtr > 2)
				{
					isPressed = true;
					SEGGER_SYSVIEW_PrintfTarget("User Button Pressed %d times", ++isPressedCtr);

					// Distribute notifications
					switch(isPressedCtr)
					{
						case 1:
							(void)xTaskNotify(task1_handle, 0xFFFFFFFF, eSetBits);
							break;
						case 2:
							(void)xTaskNotify(task2_handle, 0xFFFFFFFF, eSetBits);
							break;
						case 3:
							(void)xTaskNotify(task3_handle, 0xFFFFFFFF, eSetBits);
							break;
						case 5:
							// resume all tasks then reset isPressedCtr
							vTaskResume(task1_handle);
							vTaskResume(task2_handle);
							vTaskResume(task3_handle);
							isPressedCtr = 0;
						default:
							// Nothing to do here
							break;
					};

				}
			}
			else
			{
				// do nothing. button is pressed and detected already
			}
		}
		else
		{
			// button is released
			debounceCtr = 0;
			if (isPressed)
			{
				SEGGER_SYSVIEW_PrintfTarget("User Button Released");
				isPressed = false;
			}
		}

		// Poll for 10ms
		vTaskDelay(10);
	}
}

static void vTask_Shell_RX(void * pvParameters)
{
	char c;

	while(1)
	{
		/* Block indefinitely while we wait for user input */
     	(void)xQueueReceive(shell_queue_rx, &c, (TickType_t)portMAX_DELAY);
     	shell_receive_char(c);
	}
}

static void vTask_Shell_TX(void * pvParameters)
{
	while(1)
	{
		ShellQueueTX_t pTxItem;

		if ( xQueueReceive( shell_queue_tx, (void* const)&pTxItem, (TickType_t) portMAX_DELAY) == pdTRUE )
		{
			/* Here we have the whole buffer to be sent, pTxItem.buffer with size pTxItem.sz */

			LL_DMA_DisableStream(DMA1, LL_DMA_STREAM_3);
			LL_DMA_ConfigAddresses(DMA1, LL_DMA_STREAM_3, (uint32_t)pTxItem.buffer,
					LL_USART_DMA_GetRegAddr(USART3), LL_DMA_DIRECTION_MEMORY_TO_PERIPH);
			LL_DMA_SetDataLength(DMA1, LL_DMA_STREAM_3, pTxItem.sz);
			LL_DMA_EnableStream(DMA1, LL_DMA_STREAM_3);
			LL_USART_EnableDMAReq_TX(USART3);

			/* Block until DMA completion */
			xTaskNotifyWait(0, 0, NULL, portMAX_DELAY);

		}
	}
}

static void vTaskIMU(void * pvParameters)
{
	TickType_t xLastWakeTime;

	while(1)
	{
    int8_t rv;

	/* Reset bus */
	rv = I2C_BusReset(GPIOB, IMU_SCL_Pin, GPIOB, IMU_SDA_Pin);
	if (rv) Shell_Printf("I2C bus reset Err [%d]!\r\n", rv);

	/* Enable */
	LL_I2C_Enable(I2C1);

	LSM9DS1_Err_t err_imu = LSM9DS1_Init(I2C1);
	if (err_imu != LSM9DS1_Err_OK)
	{
		Shell_Printf("IMU Init Error! [%d]!\r\n", err_imu);
	}

	/* Start acquisition after 100ms since initialization*/
	vTaskDelay(pdMS_TO_TICKS(100));

    /* Try read periodically */

	int16_t accel_xyz[3];
	int16_t gyro_xyz[3];
	float accel_xyz_ms2[3];
	float gyro_xyz_ms2[3];
	uint32_t ctr = 0;
	uint8_t daq_err_cnt = 0;
	uint8_t bus_reset_cnt = 0;

	xLastWakeTime = xTaskGetTickCount();

    while(1)
    {
      LSM9DS1_Err_t err_daq = LSM9DS1_ReadRawData(accel_xyz, gyro_xyz);

      if ( err_daq != LSM9DS1_Err_OK)
      {
        Shell_Printf("IMU DAQ error! [%d]!\r\n", err_daq);
        daq_err_cnt++;

        if (daq_err_cnt > 10)
        {
        	if (bus_reset_cnt < 5)
        	{

            	/* Reset I2C bus and re-initialize device */
            	LL_I2C_Disable(I2C1);
            	rv = I2C_BusReset(GPIOB, IMU_SCL_Pin, GPIOB, IMU_SDA_Pin);
            	if (rv)
            	{
            		Shell_Printf("I2C bus reset Err [%d]!\r\n", rv);
            	}
            	else
            	{
            		Shell_Printf("I2C bus reset OK");
            	}
            	LL_I2C_Enable(I2C1);

        		vTaskDelay(pdMS_TO_TICKS(100));

            	LSM9DS1_Err_t err_imu = LSM9DS1_Init(I2C1);
    			if (err_imu != LSM9DS1_Err_OK)	Shell_Printf("IMU re-init Error! [%d]!\r\n", err_imu);

        		vTaskDelay(pdMS_TO_TICKS(100));

            	daq_err_cnt = 0;
            	bus_reset_cnt++;
        	}
        	else
        	{
        		/* Give up. Stop acquisition */
                LL_I2C_Disable(I2C1);
                vTaskSuspend(NULL);
        	}
        }
      }
      else
      {
    	  if (ctr++ % 4 == 0)
    	  {
    		  LSM9DS1_RawXLToMS2(accel_xyz, accel_xyz_ms2, 3);
    		  LSM9DS1_RawGToDPS(gyro_xyz, gyro_xyz_ms2, 3);
    		  Shell_Printf("%d, %0.4f, %0.4f, %0.4f, %0.4f, %0.4f, %0.4f\r\n",
    				  xTaskGetTickCount(),
    				  accel_xyz_ms2[0], accel_xyz_ms2[1], accel_xyz_ms2[2],
					  gyro_xyz_ms2[0], gyro_xyz_ms2[1], gyro_xyz_ms2[2]);
    	  }

    	  /* Clear DAQ error counter */
    	  daq_err_cnt = 0;
      }

      /* 5ms sampling loop rate for 200Hz throughput */
      vTaskDelayUntil(&xLastWakeTime, pdMS_TO_TICKS(5));
    }

		/* Disable */
		LL_I2C_Disable(I2C1);

		/* Done */
		vTaskSuspend(NULL);
	}
}

/**
 * @brief Idle hook for kernel
 *
 */
void vApplicationIdleHook( void )
{
  /* Set to sleep. Wake up when there is an interrupt */
  HAL_PWR_EnterSLEEPMode(PWR_MAINREGULATOR_ON, PWR_SLEEPENTRY_WFI);
}

void USART3_IT_Callback(void)
{
	BaseType_t xHigherPriorityTaskWoken;

	xHigherPriorityTaskWoken = pdFALSE;

	if(LL_USART_IsEnabledIT_RXNE(USART3) && LL_USART_IsActiveFlag_RXNE(USART3) != RESET)
	{
		/*Handle RXNE Interrupt*/
		BaseType_t queue_rv;
		char shell_char_rcv;

		shell_char_rcv = (char)LL_USART_ReceiveData8(USART3);

		/* Push to queue if received character is not CR*/
		queue_rv = xQueueSendFromISR( shell_queue_rx, &shell_char_rcv, &xHigherPriorityTaskWoken );

		if( xHigherPriorityTaskWoken )
		{
			portYIELD_FROM_ISR (xHigherPriorityTaskWoken);
		}

		if (queue_rv != pdTRUE)
		{
			/* Send notification to task that buffer is full */
			(void)xTaskNotifyFromISR( task_shell_rx_handle, 0x02, eSetBits, &xHigherPriorityTaskWoken );
		}

	}
	else if(LL_USART_IsEnabledIT_ERROR(USART3) && LL_USART_IsActiveFlag_IDLE(USART3) != RESET)
	{
		/*ToDo: Handle IDLE Interrupt*/
		LL_USART_ClearFlag_IDLE(USART3);
	}
	else if(LL_USART_IsEnabledIT_ERROR(USART3) && LL_USART_IsActiveFlag_ORE(USART3) != RESET)
	{
		/*ToDo: Handle ORE Interrupt*/
		LL_USART_ClearFlag_ORE(USART3);
	}
}

/**
 * UART Transmit Callback IT
 */
void USART3_TX_DMA1_Callback(void)
{
	BaseType_t xHigherPriorityTaskWoken;

	xHigherPriorityTaskWoken = pdFALSE;

	if (LL_DMA_IsEnabledIT_TC(DMA1, LL_DMA_STREAM_3) && LL_DMA_IsActiveFlag_TC3(DMA1))
	{
		/* Clear DMA flag */
		LL_DMA_ClearFlag_TC3(DMA1);

		/* Notify the TX to wake up*/
		(void)xTaskNotifyFromISR( task_shell_tx_handle, 0, eSetBits, &xHigherPriorityTaskWoken );
	}

	if( xHigherPriorityTaskWoken )
	{
		portYIELD_FROM_ISR (xHigherPriorityTaskWoken);
	}
}

/**
 * Shell function
 * Do not use inside any ISR
 */
int Shell_Printf(const char* format, ...)
{
  ShellQueueTX_t buffer_tx;
  va_list va;

  /* Format input then write it in buffer for a
   * maximum length of SHELL_QUEUE_TX_BUFF_SZ
   */
  va_start(va, format);
  const int ret = vsnprintf(buffer_tx.buffer, SHELL_QUEUE_TX_BUFF_SZ, format, va);
  va_end(va);

  if (ret > 0){
	  /* Push to queue*/
	  BaseType_t queue_rv;

	  buffer_tx.sz = ret;
	  queue_rv = xQueueSend( shell_queue_tx, (void*)&buffer_tx, 0);

	  if (queue_rv != pdTRUE)
	  {
		  /* Todo: Handle case when buffer is full */
	  }
  }

  return ret;
}

/**
 * Implementation of _putchar for normal printf
 * This is unused.
 */
void _putchar(char character)
{
	(void)character;
}

/* USER CODE END 4 */

void HAL_TIM_PeriodElapsedCallback(TIM_HandleTypeDef *htim)
{
  if (htim->Instance == TIM6) {
    HAL_IncTick();
  }
}

void Error_Handler(void)
{
  __disable_irq();
  while (1)
  {
  }
}

/************************ (C) COPYRIGHT STMicroelectronics *****END OF FILE****/
